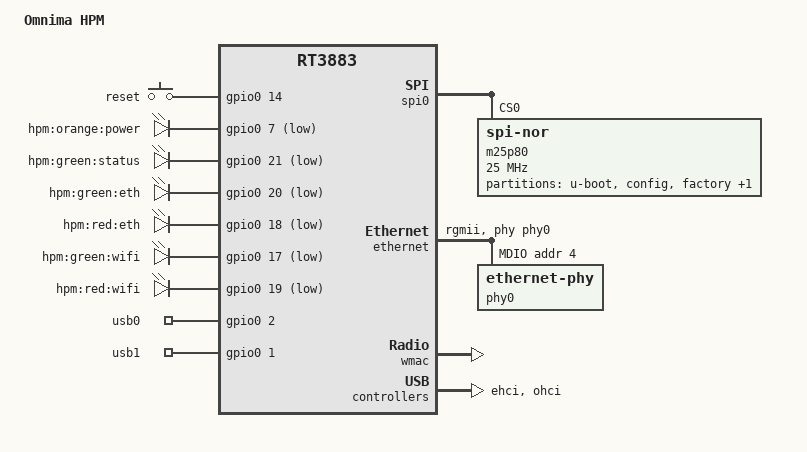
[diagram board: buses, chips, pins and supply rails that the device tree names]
/dts-v1/;

#include "rt3883.dtsi"

/ {
	compatible = "HPM", "ralink,rt3883-soc";
	model = "Omnima HPM";

	chosen {
		bootargs = "console=ttyS0,115200";
	};

	gpio-keys-polled {
		compatible = "gpio-keys-polled";
		#address-cells = <1>;
		#size-cells = <0>;
		poll-interval = <100>;

		reset {
			label = "reset";
			gpios = <&gpio0 14 0>;
			linux,code = <0x198>;
		};
	};

	gpio-leds {
		compatible = "gpio-leds";

		power {
			label = "hpm:orange:power";
			gpios = <&gpio0 7 1>;
		};

		status {
			label = "hpm:green:status";
			gpios = <&gpio0 21 1>;
		};

		eth {
			label = "hpm:green:eth";
			gpios = <&gpio0 20 1>;
		};

		eth2 {
			label = "hpm:red:eth";
			gpios = <&gpio0 18 1>;
		};

		wifi {
			label = "hpm:green:wifi";
			gpios = <&gpio0 17 1>;
		};

		wifi2 {
			label = "hpm:red:wifi";
			gpios = <&gpio0 19 1>;
		};
	};

	gpio_export {
		compatible = "gpio-export";
		#size-cells = <0>;
		/* gpio 12 and 13 handle the OC input */

		usb0 {
			gpio-export,name = "usb0";
			gpio-export,output = <1>;
			gpios = <&gpio0 2 0>;
		};

		usb1 {
			gpio-export,name = "usb1";
			gpio-export,output = <1>;
			gpios = <&gpio0 1 0>;
		};
	};
};

&spi0 {
	status = "okay";

	m25p80@0 {
		compatible = "jedec,spi-nor";
		spi-max-frequency = <25000000>;
		reg = <0>;
		#address-cells = <1>;
		#size-cells = <1>;

		partition@0 {
			reg = <0x0 0x0030000>;
			label = "u-boot";
			read-only;
		};

		partition@30000 {
			reg = <0x00030000 0x00010000>;
			label = "config";
			read-only;
		};

		factory: partition@40000 {
			reg = <0x00040000 0x00010000>;
			label = "factory";
			read-only;
		};

		partition@50000 {
			reg = <0x00050000 0x00fb0000>;
			label = "firmware";
		};
	};
};

&pinctrl {
	state_default: pinctrl0 {
		gpio {
			ralink,group = "i2c", "jtag", "uartf";
			ralink,function = "gpio";
		};
	};
};

&ethernet {
	phy-handle = <&phy0>;
	phy-mode = "rgmii";
	mtd-mac-address = <&factory 0x28>;

	mdio-bus {
		status = "okay";

		phy0: ethernet-phy@4 {
			reg = <4>;
		};
	};
};

&wmac {
	ralink,mtd-eeprom = <&factory 0>;
};

&ehci {
	status = "okay";
};

&ohci {
	status = "okay";
};
